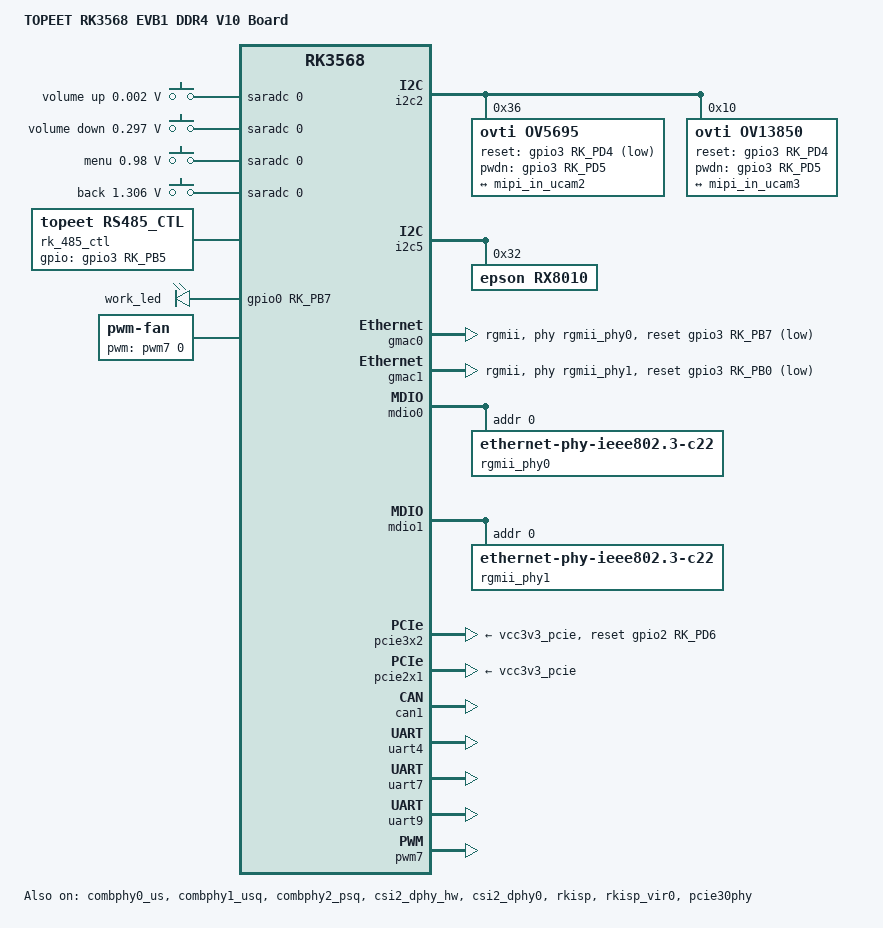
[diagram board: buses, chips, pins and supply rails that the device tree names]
#include "rk3568-topeet-mini.dtsi"
#include "rk3568-linux.dtsi"
#include "rk3568-topeet-mini-screen-lcds.dtsi"

/ {
        model = "TOPEET RK3568 EVB1 DDR4 V10 Board";
        compatible = "rockchip,rk3568-evb1-ddr4-v10", "rockchip,rk3568";

	//ADC 按键
        adc_keys: adc-keys {
                compatible = "adc-keys";
                io-channels = <&saradc 0>;
                io-channel-names = "buttons";
                keyup-threshold-microvolt = <1800000>;
                poll-interval = <100>;

                vol-up-key {
                        label = "volume up";
                        linux,code = <KEY_VOLUMEUP>;
                        press-threshold-microvolt = <1750>;
                };

                vol-down-key {
                        label = "volume down";
                        linux,code = <KEY_VOLUMEDOWN>;
                        press-threshold-microvolt = <297500>;
                };

                menu-key {
                        label = "menu";
                        linux,code = <KEY_MENU>;
                        press-threshold-microvolt = <980000>;
                };

                back-key {
                        label = "back";
                        linux,code = <KEY_BACK>;
                        press-threshold-microvolt = <1305500>;
                };
        };

        //485 使能引脚  
        rk_485_ctl: rk-485-ctl {
                compatible = "topeet,rs485_ctl";
                gpios = <&gpio3 RK_PB5 GPIO_ACTIVE_HIGH>;
                pinctrl-names = "default";
                pinctrl-0 = <&rk_485_gpio>;
        };

	//LED	
        leds: leds {
                compatible = "gpio-leds";
                work_led: work {
                        gpios = <&gpio0 RK_PB7 GPIO_ACTIVE_HIGH>;
                        linux,default-trigger = "heartbeat";
                        default-state = "on";
                };
        };

	//风扇
        fan: pwm-fan {
                compatible = "pwm-fan";
                cooling-min-state = <0>;
                cooling-max-state = <3>;
                #cooling-cells = <2>;
                pwms = <&pwm7 0 10000 0>;
                cooling-levels = <100 150 200 250>;
        };
};

&i2c2 {
        status = "okay";
        pinctrl-0 = <&i2c2m1_xfer>;
	
	    //5695摄像头
	    ov5695: ov5695@36 {
                status = "okay";
                compatible = "ovti,ov5695";
                reg = <0x36>;
                clocks = <&cru CLK_CIF_OUT>;
                clock-names = "xvclk";
                power-domains = <&power RK3568_PD_VI>;
                pinctrl-names = "default";
                pinctrl-0 = <&cif_clk>;
                reset-gpios = <&gpio3 RK_PD4 GPIO_ACTIVE_LOW>;
                pwdn-gpios = <&gpio3 RK_PD5 GPIO_ACTIVE_HIGH>;
                rockchip,camera-module-index = <0>;
                rockchip,camera-module-facing = "back";
                rockchip,camera-module-name = "TongJu";
                rockchip,camera-module-lens-name = "CHT842-MD";
                port {
                        ov5695_out: endpoint {
                                remote-endpoint = <&mipi_in_ucam2>;
                                data-lanes = <1 2>;
                        };
                };
        };
	   
            //13850摄像头
	    ov13850: ov13850@10 {
                status = "okay";
                 compatible = "ovti,ov13850";
                 reg = <0x10>;
                 clocks = <&cru CLK_CIF_OUT>;
                 clock-names = "xvclk";
                 power-domains = <&power RK3568_PD_VI>;
                 pinctrl-names = "default";
                 pinctrl-0 = <&cif_clk>;
                 reset-gpios = <&gpio3 RK_PD4 GPIO_ACTIVE_HIGH>;
                 pwdn-gpios = <&gpio3 RK_PD5 GPIO_ACTIVE_HIGH>;
                 rockchip,camera-module-index = <0>;
                 rockchip,camera-module-facing = "back";
                 rockchip,camera-module-name = "ZC-OV13850R2A-V1";
                 rockchip,camera-module-lens-name = "Largan-50064B31";
                 port {
                         ov13850_out: endpoint {
                                 remote-endpoint = <&mipi_in_ucam3>;
                                 data-lanes = <1 2 3 4>;
                         };
                 };
         };

};

//摄像头配置
&combphy0_us {
        status = "okay";
};

&combphy1_usq {
        status = "okay";
};

&combphy2_psq {
        status = "okay";
};

&csi2_dphy_hw {
        status = "okay";
};

&csi2_dphy0 {
        status = "okay";

        ports {
                #address-cells = <1>;
                #size-cells = <0>;
                port@0 {
                        reg = <0>;
                        #address-cells = <1>;
                        #size-cells = <0>;
                        mipi_in_ucam2: endpoint@3 {
                                reg = <3>;
                                remote-endpoint = <&ov5695_out>;
                                data-lanes = <1 2>;
                        };
                        mipi_in_ucam3: endpoint@4 {
                                reg = <4>;
                                remote-endpoint = <&ov13850_out>;
                                data-lanes = <1 2 3 4>;
                        };
                };
                port@1 {
                        reg = <1>;
                        #address-cells = <1>;
                        #size-cells = <0>;

                        csidphy_out: endpoint@0 {
                                reg = <0>;
                                remote-endpoint = <&isp0_in>;
                        };
                };
        };
};

&rkisp {
        status = "okay";
};

&rkisp_mmu {
        status = "okay";
};

&rkisp_vir0 {
        status = "okay";

        port {
                #address-cells = <1>;
                #size-cells = <0>;

                isp0_in: endpoint@0 {
                        reg = <0>;
                        remote-endpoint = <&csidphy_out>;
                };
        };
};

//RTC 芯片使能
&i2c5 {
        status = "okay";

        rx8010: rx8010@32 {
                compatible = "epson,rx8010";
                reg = <0x32>;
                status = "okay";
                #clock-cells = <0>;
        };
};

//网口0
&gmac0 {
        phy-mode = "rgmii";
        clock_in_out = "input";
        snps,reset-gpio = <&gpio3 RK_PB7 GPIO_ACTIVE_LOW>;
        snps,reset-active-low;
        /* Reset time is 20ms, 100ms for rtl8211f */
        snps,reset-delays-us = <0 20000 100000>;

        assigned-clocks = <&cru SCLK_GMAC0_RX_TX>, <&cru SCLK_GMAC0>;
        assigned-clock-parents = <&cru SCLK_GMAC0_RGMII_SPEED>, <&gmac0_clkin>;
        assigned-clock-rates = <0>, <125000000>;

        pinctrl-names = "default";
	pinctrl-0 = <&gmac0_miim
                &gmac0_tx_bus2
                &gmac0_rx_bus2
                &gmac0_rgmii_clk
                &gmac0_rgmii_bus
                &gmac0_clkinout>;


        tx_delay = <0x3c>;
        rx_delay = <0x2f>;

        phy-handle = <&rgmii_phy0>;
        status = "okay";
};

//网口1
&gmac1 {
        phy-mode = "rgmii";
        clock_in_out = "input";
        snps,reset-gpio = <&gpio3 RK_PB0 GPIO_ACTIVE_LOW>;
        snps,reset-active-low;
        /* Reset time is 20ms, 100ms for rtl8211f */
        snps,reset-delays-us = <0 20000 100000>;

        assigned-clocks = <&cru SCLK_GMAC1_RX_TX>, <&cru SCLK_GMAC1>;
        assigned-clock-parents = <&cru SCLK_GMAC1_RGMII_SPEED>, <&gmac1_clkin>;
        assigned-clock-rates = <0>, <125000000>;

        pinctrl-names = "default";
        pinctrl-0 = <&gmac1m1_miim
                &gmac1m1_tx_bus2
                &gmac1m1_rx_bus2
                &gmac1m1_rgmii_clk
                &gmac1m1_rgmii_bus
                &gmac1m1_clkinout>;

        tx_delay = <0x4f>;
        rx_delay = <0x26>;

        phy-handle = <&rgmii_phy1>;
        status = "okay";
};

&mdio0 {
        rgmii_phy0: phy@0 {
                compatible = "ethernet-phy-ieee802.3-c22";
                reg = <0x0>;
        };
};

&mdio1 {
        rgmii_phy1: phy@0 {
                compatible = "ethernet-phy-ieee802.3-c22";
                reg = <0x0>;
        };
};


//PCIE3.0
&pcie30phy {
        status = "okay";
};

&pcie3x2 {
        reset-gpios = <&gpio2 RK_PD6 GPIO_ACTIVE_HIGH>;
        vpcie3v3-supply = <&vcc3v3_pcie>;
        status = "okay";
};

//PCIE2.0
&sata2 {
        status = "disabled";
};
&pcie2x1 {
        status = "okay";
        vpcie3v3-supply = <&vcc3v3_pcie>;
};

//can接口
&can1 {
        status = "okay";
                compatible = "rockchip,canfd-1.0";
        assigned-clocks = <&cru CLK_CAN1>;
        assigned-clock-rates = <150000000>;  //If can bitrate lower than 3M,the clock-rates should set 100M,else set 200M.
        pinctrl-names = "default";
        pinctrl-0 = <&can1m1_pins>;
};

//串口4
&uart4 {
            status = "okay";
                pinctrl-names = "default";
                pinctrl-0 = <&uart4m1_xfer>;
};

//串口7
&uart7 {
                status ="okay";
                pinctrl-name = "default";
                pinctrl-0 = <&uart7m1_xfer>;
};

//串口9
&uart9 {
            status = "okay";
                pinctrl-names = "default";
                pinctrl-0 = <&uart9m1_xfer>;
};

//风扇要用到的PWM7
&pwm7 {
        status = "okay";
};

&pinctrl {
        rk_485{
                rk_485_gpio:rk-485-gpio {
                        rockchip,pins = <3  RK_PB5 RK_FUNC_GPIO &pcfg_pull_none>;
                };
        };
};
